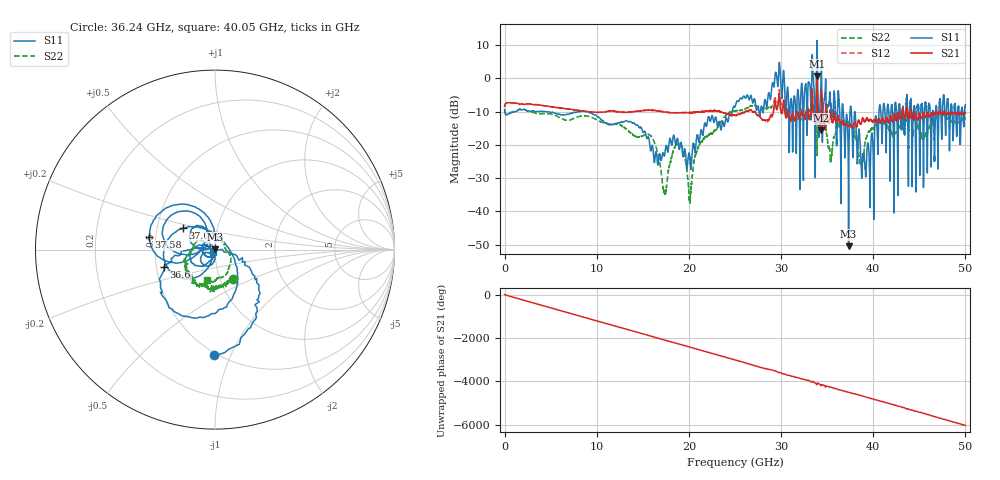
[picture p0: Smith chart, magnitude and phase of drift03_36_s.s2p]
!Created with skrf (http://scikit-rf.org).
# Hz S RI R 50.0
!freq ReS11 ImS11 ReS21 ImS21 ReS12 ImS12 ReS22 ImS22
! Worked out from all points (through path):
!   10001 points, 300 kHz to 50 GHz, reference 50 ohm
!   highest |S21| = 0.65 dB at 33.9 GHz (marker M1); lowest = -15.6 dB at 34.32 GHz (marker M2)
!   group delay of S21, straight-line fit = 335 ps
!   lowest |S11| = -50.5 dB at 37.33 GHz (marker M3), VSWR 1.01, Z = 49.9 + j0.274 ohm
!   |S11| at or under -10 dB: 4.473 GHz to 7.941 GHz (3.468 GHz wide, 55.9 % of centre); 9.018 GHz to 24.7 GHz (15.68 GHz wide, 93 % of centre); 38.01 GHz to 40.62 GHz (2.617 GHz wide, 6.66 % of centre) (the widest 3 of 57)
!   |S22| runs from -37.5 to -5.9 dB; largest |S21 - S12| = 0.11
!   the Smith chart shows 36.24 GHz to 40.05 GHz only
!   S11 on the Smith chart (normalised r, x): 36.24 GHz: 0.48, -0.87; 36.6 GHz: 0.55, -0.12; 37.04 GHz: 0.68, +0.17; 37.58 GHz: 0.46, +0.08; 40.05 GHz: 0.98, -0.03
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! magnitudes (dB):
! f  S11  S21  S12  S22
! 300 kHz  -9.4  -8.4  -8.5  -9.3
! 8.335 GHz  -9.8  -9.8  -9.8  -11.3
! 16.67 GHz  -25.4  -9.8  -9.8  -23.3
! 17.38 GHz  -22.8  -10.1  -10.1  -34.8
! 19.07 GHz  -19.9  -10.3  -10.3  -20.0
! 20.12 GHz  -24.3  -10.3  -10.3  -36.4
! 21.18 GHz  -18.0  -10.1  -10.1  -19.7
! 25 GHz  -8.6  -11.1  -11.1  -9.9
! 31.08 GHz  -6.1  -12.7  -12.7  -10.5
! 33.34 GHz  0.5  -7.5  -7.6  -9.5
! 33.9 GHz  11.4  0.6  0.2  -23.2
! 34.32 GHz  -2.9  -15.6  -15.0  -11.3
! 35.35 GHz  -6.8  -10.6  -10.1  -24.4
! 36.24 GHz  -4.6  -11.8  -11.7  -14.2
! 36.6 GHz  -10.4  -13.1  -13.0  -13.4
! 37.04 GHz  -13.3  -13.9  -13.9  -14.3
! 37.33 GHz  -50.5  -14.3  -14.5  -13.6
! 37.58 GHz  -8.5  -13.9  -13.9  -14.6
! 38.71 GHz  -27.4  -13.4  -13.3  -25.3
! 40.05 GHz  -36.2  -12.7  -12.8  -15.1
! 41.67 GHz  -9.6  -13.3  -13.2  -14.7
! 50 GHz  -7.9  -10.5  -10.5  -12.1
